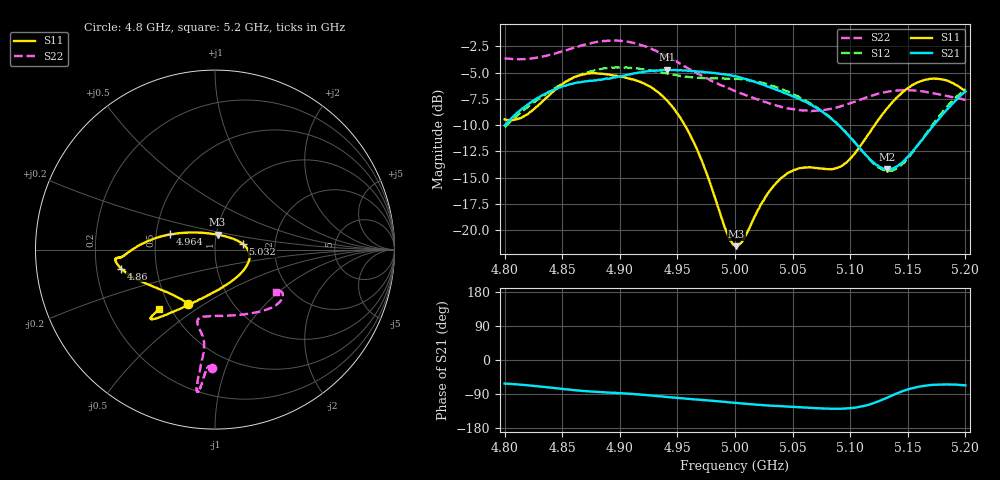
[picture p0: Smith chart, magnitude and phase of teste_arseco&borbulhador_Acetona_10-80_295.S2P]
! Network Analyzer HP8722D
! Hewlett-Packard
! Data name: Linha & Wilkinson
! Saver's name: Rodrigo Anjos
! Comments: Teste da utilização de aquisição
! continua pelo VNA HP8722D
! Time and date: 17/4/2025 16:49
!  Frequency  S11  S21  S12  S22
# HZ  S  MA R 50
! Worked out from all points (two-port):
!   401 points, 4.8 GHz to 5.2 GHz, reference 50 ohm
!   highest |S21| = -4.74 dB at 4.941 GHz (marker M1); lowest = -14.2 dB at 5.132 GHz (marker M2)
!   |S21| within 3 dB of the highest: 4.824 GHz to 5.06 GHz (236.4 MHz wide, 4.78 % of centre); 5.190764 GHz to end of sweep
!   lowest |S11| = -21.5 dB at 5.001 GHz (marker M3), VSWR 1.18, Z = 50.7 + j8.47 ohm
!   |S11| at or under -10 dB: 4.956 GHz to 5.121 GHz (164.9 MHz wide, 3.27 % of centre)
!   |S22| runs from -8.7 to -1.9 dB; largest |S21 - S12| = 0.87
!   S11 on the Smith chart (normalised r, x): 4.8 GHz: 0.63, -0.42; 4.86 GHz: 0.31, -0.09; 4.964 GHz: 0.59, +0.11; 5.032 GHz: 1.37, +0.09; 5.2 GHz: 0.43, -0.36
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4.8e9  0.3369 -116.8  0.3153 -62.3  0.3097 -176.6  0.6576 -91.4
4.818e9  0.3513 -136.1  0.3887 -66.3  0.3782 -176.2  0.6517 -93.0
4.86e9  0.5335 -168.5  0.4999 -79.4  0.5309 -179.5  0.7365 -95.4
4.867e9  0.5491 -171.2  0.5078 -81.5  0.5509 179.3  0.7577 -95.8
4.899e9  0.5388 -175.2  0.5387 -87.5  0.5945 173.0  0.7965 -97.1
4.934e9  0.4505 179.1  0.5747 -95.7  0.5673 170.0  0.7014 -97.4
4.941e9  0.4135 176.0  0.5794 -97.6  0.5561 170.1  0.6715 -97.2
4.964e9  0.2638 161.3  0.5716 -103.5  0.5323 172.1  0.5689 -96.4
4.993e9  0.09732 111.4  0.5488 -111.1  0.5262 174.1  0.478 -98.9
5e9  0.08487 84.7  0.5398 -113.2  0.524 174.2  0.4591 -100.2
5.001e9  0.08408 80.4  0.5383 -113.0  0.5242 174.3  0.4588 -100.3
5.007e9  0.08969 57.4  0.5273 -114.8  0.5199 174.0  0.4434 -101.6
5.032e9  0.1588 11.2  0.474 -120.4  0.4868 173.0  0.3979 -103.5
5.049e9  0.1907 -4.8  0.4361 -123.5  0.447 172.4  0.3779 -98.6
5.067e9  0.1988 -24.2  0.3938 -126.6  0.3971 172.1  0.3692 -88.4
5.095e9  0.207 -72.7  0.296 -128.3  0.2969 174.6  0.3927 -66.6
5.119e9  0.304 -109.6  0.2129 -115.3  0.2107 -170.5  0.4371 -50.5
5.132e9  0.3791 -120.2  0.1953 -99.4  0.1918 -152.9  0.4545 -44.1
5.134e9  0.391 -121.4  0.1956 -96.7  0.1915 -149.9  0.4577 -43.3
5.148e9  0.4655 -127.8  0.2177 -79.7  0.2136 -129.9  0.4638 -38.1
5.168e9  0.5231 -132.2  0.2947 -66.9  0.2984 -113.3  0.4517 -33.4
5.2e9  0.4567 -133.3  0.4579 -66.9  0.4691 -109.1  0.4163 -35.0
